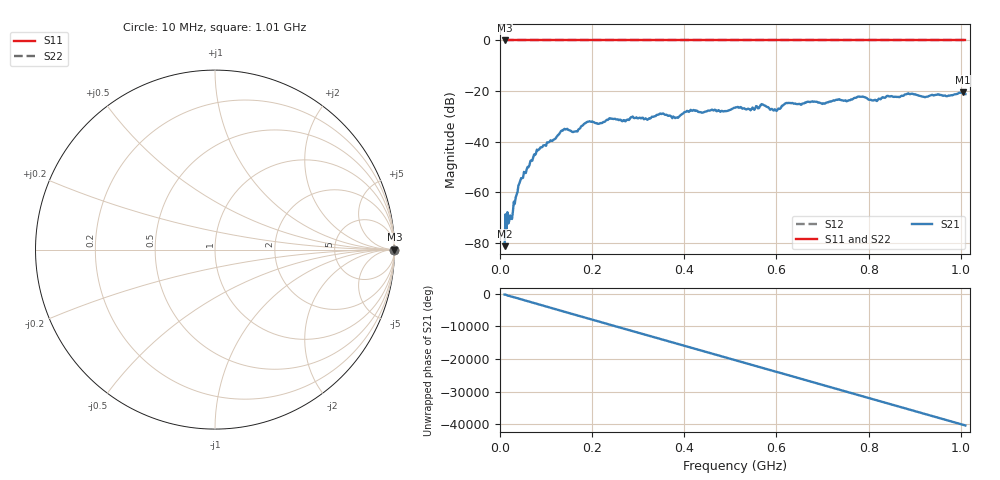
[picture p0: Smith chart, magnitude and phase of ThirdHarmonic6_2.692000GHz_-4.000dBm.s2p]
! 8/17/2025 6:23:28 AM
! C:\ANRITSUVNA\TEMP\TEMP.S2P
! CHANNEL.1
! TR.MEASUREMENT
! RAW.DATA
! RF.CORRECTION.OFF
! AVERAGING.OFF
! IF.BANDWIDTH: 5KHZ
! SWEEPTYPE:  FREQ.SWEEP(Linear)
! Reference Plane Port Info
! PORT:  PORT1  PORT2
! DISTANCE:  0  m  0  m
! TIME:  0  s  0  s
! PHASE.OFFSET:  0  deg.  0  deg.
! LOSS:  0  dB  0  dB
! REF.LOSS:  0  dB  0  dB
! REF.FREQ:  0  Hz  0  Hz
! Power Info
! POWER:  -20  dBm  -20  dBm
! EFF.POWER:  -20  dBm  -20  dBm
! SOURCE.ATTEN:  0  dB  0  dB
! TEST.ATTEN:  0  dB  0  dB
# GHZ S RI R 50.0
! FREQ.GHZ  S11RE  S11IM  S21RE  S21IM  S12RE  S12IM  S22RE  S22IM
!; PortSelection: Port_12
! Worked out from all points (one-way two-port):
!   501 points, 10 MHz to 1.01 GHz, reference 50 ohm
!   highest |S21| = -20.50 dB at 1.004 GHz (marker M1); lowest = -81.2 dB at 10 MHz (marker M2)
!   lowest |S11| = 0.0 dB at 10 MHz (marker M3)
!   |S11| at or under -10 dB: nowhere
!   |S22| runs from 0.0 to 0.0 dB; largest |S21 - S12| = 1.1
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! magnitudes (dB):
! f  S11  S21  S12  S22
! 10 MHz  0.0  -81.2  0.0  0.0
! 16 MHz  0.0  -67.8  0.0  0.0
! 24 MHz  0.0  -70.4  0.0  0.0
! 44 MHz  0.0  -55.4  0.0  0.0
! 78 MHz  0.0  -44.7  0.0  0.0
! 136 MHz  0.0  -35.6  0.0  0.0
! 164 MHz  0.0  -35.9  0.0  0.0
! 178 MHz  0.0  -33.7  0.0  0.0
! 192 MHz  0.0  -32.1  0.0  0.0
! 322 MHz  0.0  -31.1  0.0  0.0
! 344 MHz  0.0  -29.3  0.0  0.0
! 384 MHz  0.0  -30.4  0.0  0.0
! 416 MHz  0.0  -27.7  0.0  0.0
! 510 MHz  0.0  -26.5  0.0  0.0
! 548 MHz  0.0  -26.5  0.0  0.0
! 570 MHz  0.0  -25.3  0.0  0.0
! 598 MHz  0.0  -27.4  0.0  0.0
! 622 MHz  0.0  -24.7  0.0  0.0
! 678 MHz  0.0  -24.1  0.0  0.0
! 844 MHz  0.0  -22.1  0.0  0.0
! 1.004 GHz  0.0  -20.5  0.0  0.0
! 1.01 GHz  0.0  -21.2  0.0  0.0
